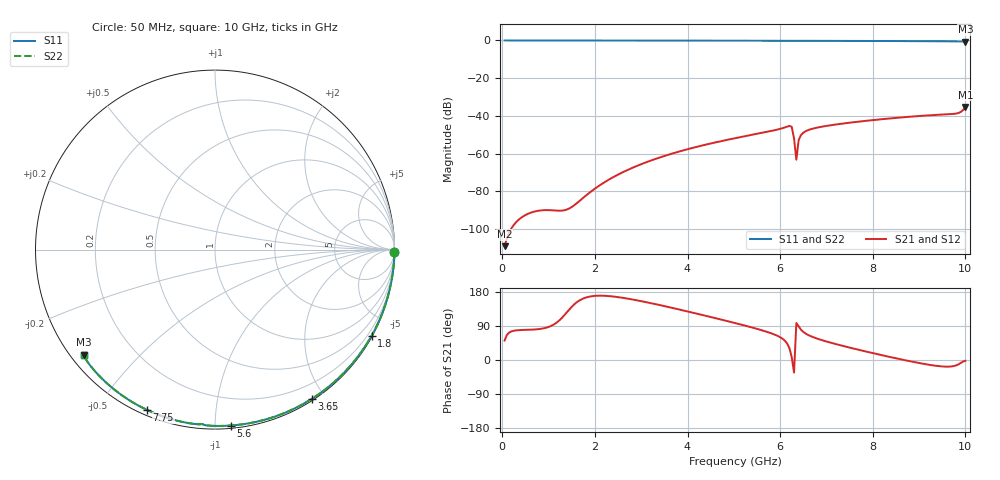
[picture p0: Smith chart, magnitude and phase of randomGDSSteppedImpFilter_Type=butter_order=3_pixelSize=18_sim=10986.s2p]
! freq	dB(S11)	phase(S11)	dB(S12)	phase(S12)
!  dB(S21)	phase(S21)	dB(S22)	phase(S22)
!S-par simulation data
#  GHz  S  DB  R 50
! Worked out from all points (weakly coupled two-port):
!   200 points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, 50 MHz to 10 GHz, reference 50 ohm
!   highest |S21| = -35.24 dB at 10 GHz (marker M1); lowest = -109.1 dB at 50 MHz (marker M2)
!   lowest |S11| = -0.6 dB at 10 GHz (marker M3), VSWR 30.32, Z = 1.85 - j17.5 ohm
!   |S11| at or under -10 dB: nowhere
!   |S22| runs from -0.6 to 0.0 dB; largest |S21 - S12| = 0
!   S11 on the Smith chart (normalised r, x): 50 MHz: open; 1.8 GHz: 0.03, -3.89; 3.65 GHz: 0.02, -1.84; 5.6 GHz: 0.02, -1.09; 7.75 GHz: 0.02, -0.66; 10 GHz: 0.04, -0.35
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0.05  -0.00 -0.8  -109.13 51.3  -109.13 51.3  -0.00 -0.8
1.75  -0.04 -28.1  -83.42 162.3  -83.42 162.3  -0.04 -28.1
1.8  -0.04 -28.9  -82.39 164.6  -82.39 164.6  -0.04 -28.9
1.95  -0.04 -31.2  -79.51 168.6  -79.51 168.6  -0.04 -31.2
2.55  -0.05 -40.5  -70.52 165.0  -70.52 165.0  -0.05 -40.5
3.4  -0.07 -53.4  -62.08 145.0  -62.08 145.0  -0.07 -53.4
3.65  -0.08 -57.1  -60.14 138.1  -60.14 138.1  -0.08 -57.1
5.05  -0.12 -77.2  -51.73 96.8  -51.73 96.8  -0.12 -77.2
5.6  -0.14 -84.8  -49.06 78.7  -49.06 78.7  -0.14 -84.8
6.2  -0.17 -93.1  -45.34 31.4  -45.34 31.4  -0.17 -93.0
6.25  -0.20 -93.8  -45.83 7.3  -45.83 7.3  -0.20 -93.8
6.3  -0.23 -94.2  -51.96 -33.1  -51.96 -33.1  -0.23 -94.2
6.35  -0.21 -94.7  -63.25 97.6  -63.25 97.6  -0.21 -94.7
6.4  -0.19 -95.4  -52.83 88.6  -52.83 88.6  -0.19 -95.4
6.45  -0.19 -96.1  -50.19 79.9  -50.19 79.9  -0.19 -96.1
6.55  -0.19 -97.4  -48.15 69.8  -48.15 69.8  -0.19 -97.4
6.7  -0.20 -99.4  -46.82 60.9  -46.82 60.9  -0.20 -99.4
7.75  -0.26 -113.0  -42.92 25.3  -42.92 25.3  -0.26 -113.0
8.35  -0.31 -120.6  -41.42 8.5  -41.42 8.5  -0.31 -120.6
9.8  -0.48 -138.9  -38.78 -14.2  -38.78 -14.2  -0.49 -138.9
9.9  -0.52 -140.2  -37.94 -8.0  -37.94 -8.0  -0.52 -140.2
10  -0.57 -141.3  -35.24 -2.1  -35.24 -2.1  -0.57 -141.3
